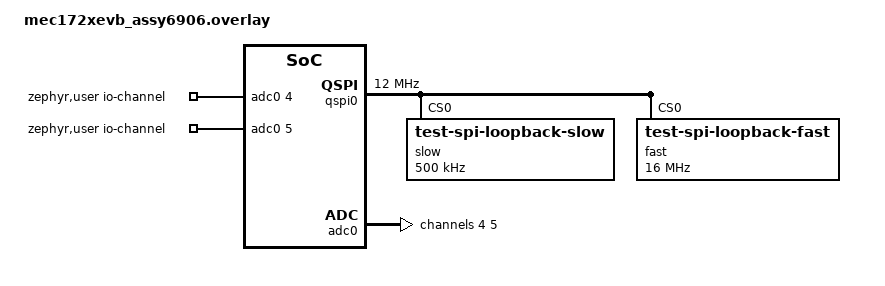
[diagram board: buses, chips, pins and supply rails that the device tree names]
/*
 * Copyright (c) 2023 Microchip Technology Inc.
 *
 * SPDX-License-Identifier: Apache-2.0
 */

tst_dma: &dmac {
	status = "okay";
};

/ {
	aliases {
		spi0 = &qspi0;
	};
};

&qspi0 {
	status = "okay";
	compatible = "microchip,xec-qmspi-ldma";
	clock-frequency = <12000000>;
	slow@0 {
		compatible = "test-spi-loopback-slow";
		reg = <0>;
		spi-max-frequency = <500000>;
	};
	fast@0 {
		compatible = "test-spi-loopback-fast";
		reg = <0>;
		spi-max-frequency = <16000000>;
	};
};

/ {
	zephyr,user {
		io-channels = <&adc0 4>, <&adc0 5>;
	};
};

&adc0 {
	#address-cells = <1>;
	#size-cells = <0>;
	channel@4 {
		reg = <4>;
		zephyr,gain = "ADC_GAIN_1";
		zephyr,reference = "ADC_REF_INTERNAL";
		zephyr,acquisition-time = <ADC_ACQ_TIME_DEFAULT>;
		zephyr,resolution = <12>;
	};
	channel@5 {
		reg = <5>;
		zephyr,gain = "ADC_GAIN_1";
		zephyr,reference = "ADC_REF_INTERNAL";
		zephyr,acquisition-time = <ADC_ACQ_TIME_DEFAULT>;
		zephyr,resolution = <12>;
	};
};

/ {
	resources {
		compatible = "test-gpio-basic-api";
		in-gpios = <MCHP_GPIO_DECODE_156 0>;
		out-gpios = <MCHP_GPIO_DECODE_157 0>;
	};
};
